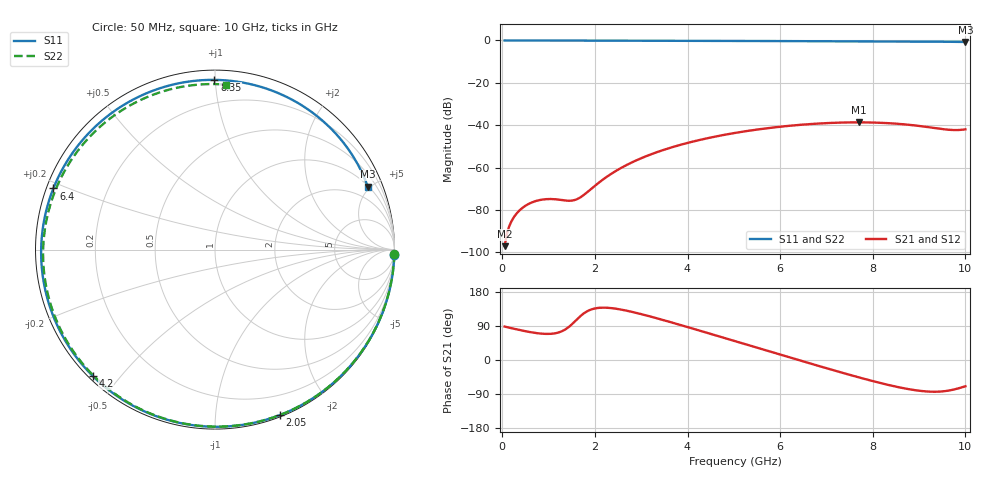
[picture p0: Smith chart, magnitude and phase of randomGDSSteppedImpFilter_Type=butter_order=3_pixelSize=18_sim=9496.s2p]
! freq	dB(S11)	phase(S11)	dB(S12)	phase(S12)
!  dB(S21)	phase(S21)	dB(S22)	phase(S22)
!S-par simulation data
#  GHz  S  DB  R 50
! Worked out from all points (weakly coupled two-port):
!   200 points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, 50 MHz to 10 GHz, reference 50 ohm
!   highest |S21| = -38.68 dB at 7.7 GHz (marker M1); lowest = -97.1 dB at 50 MHz (marker M2)
!   lowest |S11| = -0.7 dB at 10 GHz (marker M3), VSWR 24.19, Z = 52.8 + j242 ohm
!   |S11| at or under -10 dB: nowhere
!   |S22| runs from -0.7 to 0.0 dB; largest |S21 - S12| = 0
!   S11 on the Smith chart (normalised r, x): 50 MHz: 1, -65; 2.05 GHz: 0.02, -1.46; 4.2 GHz: 0.01, -0.42; 6.4 GHz: 0.02, +0.18; 8.35 GHz: 0.06, +0.99; 10 GHz: 1.06, +4.84
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0.05  -0.00 -1.8  -97.14 88.2  -97.14 88.2  -0.00 -1.3
0.35  -0.01 -12.1  -80.72 79.8  -80.72 79.8  -0.01 -9.3
0.6  -0.02 -20.7  -76.87 73.7  -76.87 73.7  -0.02 -15.9
0.85  -0.03 -29.2  -75.19 69.5  -75.19 69.5  -0.03 -22.5
1.5  -0.06 -50.8  -75.63 94.0  -75.63 94.0  -0.05 -39.4
1.75  -0.07 -59.0  -73.12 122.1  -73.12 122.1  -0.06 -45.8
2.05  -0.09 -68.7  -67.76 137.1  -67.76 137.1  -0.07 -53.4
2.35  -0.10 -78.2  -63.02 137.0  -63.02 137.0  -0.08 -60.9
2.65  -0.11 -87.5  -59.21 131.0  -59.21 131.0  -0.09 -68.4
3.4  -0.14 -110.3  -52.29 108.0  -52.29 108.0  -0.11 -86.7
4.2  -0.18 -134.0  -47.31 79.8  -47.31 79.8  -0.15 -105.8
5.05  -0.23 -159.1  -43.58 48.9  -43.58 48.9  -0.20 -126.0
5.75  -0.28 179.7  -41.37 23.4  -41.37 23.4  -0.24 -142.8
6.4  -0.33 159.3  -39.90 -0.2  -39.90 -0.2  -0.30 -158.9
6.7  -0.35 149.5  -39.41 -11.0  -39.41 -11.0  -0.32 -166.6
7.2  -0.39 132.5  -38.86 -28.7  -38.86 -28.7  -0.38 -179.9
7.7  -0.43 114.7  -38.68 -45.9  -38.68 -45.9  -0.43 166.0
8.35  -0.49 90.2  -39.08 -66.2  -39.08 -66.2  -0.51 146.2
8.75  -0.52 74.5  -39.76 -76.4  -39.76 -76.4  -0.56 133.0
9.15  -0.56 58.3  -40.80 -82.9  -40.80 -82.9  -0.61 118.9
9.7  -0.64 35.4  -42.26 -79.3  -42.26 -79.3  -0.68 98.2
10  -0.72 22.3  -41.97 -69.4  -41.97 -69.4  -0.71 86.3
